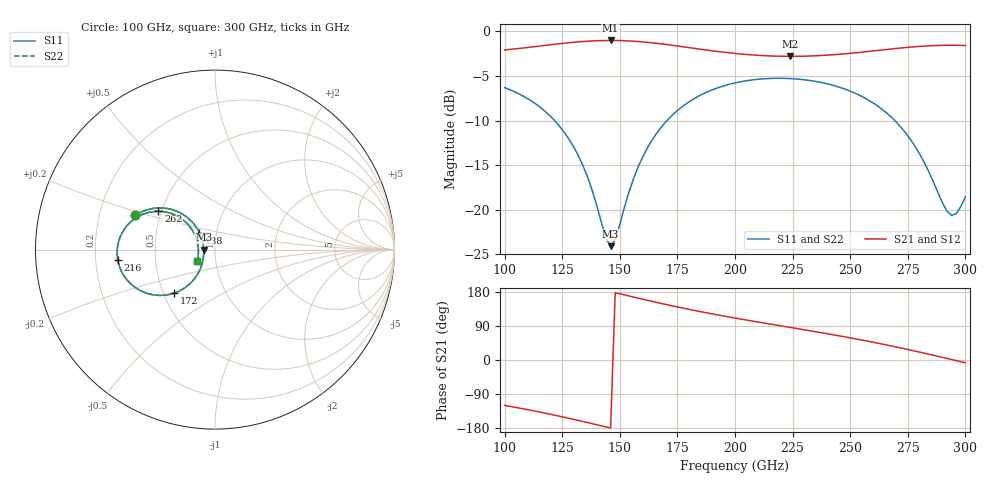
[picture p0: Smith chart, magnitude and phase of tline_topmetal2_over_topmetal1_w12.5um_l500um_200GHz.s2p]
#  GHZ S DB R 50
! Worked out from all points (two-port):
!   101 points, 100 GHz to 300 GHz, reference 50 ohm
!   highest |S21| = -1.01 dB at 146 GHz (marker M1); lowest = -2.8 dB at 224 GHz (marker M2)
!   |S21| within 3 dB of the highest: start of sweep to end of sweep
!   lowest |S11| = -24.1 dB at 146 GHz (marker M3), VSWR 1.13, Z = 44.1 - j0.0828 ohm
!   |S11| at or under -10 dB: 121.7 GHz to 170.5 GHz (48.85 GHz wide, 33.4 % of centre); 269.3 GHz to end of sweep
!   |S22| runs from -24.0 to -5.3 dB; largest |S21 - S12| = 1e-13
!   S11 on the Smith chart (normalised r, x): 100 GHz: 0.36, +0.18; 138 GHz: 0.83, +0.16; 172 GHz: 0.57, -0.31; 216 GHz: 0.30, -0.05; 262 GHz: 0.48, +0.24; 300 GHz: 0.81, -0.11
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100  -6.31 156.8  -2.08 -119.8  -2.08 -119.8  -6.31 156.8
120  -9.55 137.6  -1.49 -143.4  -1.49 -143.4  -9.54 137.7
128  -12.12 131.3  -1.26 -154.0  -1.26 -154.0  -12.11 131.4
134  -15.06 129.5  -1.13 -162.3  -1.13 -162.3  -15.04 129.6
138  -17.83 132.4  -1.06 -167.9  -1.06 -167.9  -17.80 132.6
144  -23.23 159.7  -1.01 -176.6  -1.01 -176.6  -23.14 159.8
146  -24.11 -179.1  -1.01 -179.5  -1.01 -179.5  -24.02 -179.3
148  -23.40 -157.5  -1.01 177.6  -1.01 177.6  -23.33 -157.8
158  -15.19 -125.1  -1.13 163.1  -1.13 163.1  -15.18 -125.3
168  -10.75 -129.6  -1.40 149.2  -1.40 149.2  -10.75 -129.7
172  -9.59 -133.0  -1.53 143.9  -1.53 143.9  -9.60 -133.2
186  -7.02 -146.5  -2.03 126.5  -2.03 126.5  -7.02 -146.5
200  -5.78 -159.8  -2.47 110.7  -2.47 110.7  -5.78 -159.8
216  -5.27 -174.2  -2.76 94.1  -2.76 94.1  -5.27 -174.2
224  -5.29 178.8  -2.79 85.9  -2.79 85.9  -5.29 178.8
234  -5.57 170.1  -2.74 75.7  -2.74 75.7  -5.56 170.1
262  -8.39 145.9  -2.13 44.4  -2.13 44.4  -8.38 145.9
268  -9.66 141.4  -1.96 36.9  -1.96 36.9  -9.66 141.3
280  -13.69 137.1  -1.68 21.0  -1.68 21.0  -13.69 137.0
292  -20.17 165.9  -1.55 4.1  -1.55 4.1  -20.19 165.7
296  -20.46 -167.6  -1.55 -1.6  -1.55 -1.6  -20.49 -167.7
300  -18.56 -147.0  -1.58 -7.3  -1.58 -7.3  -18.58 -147.1
